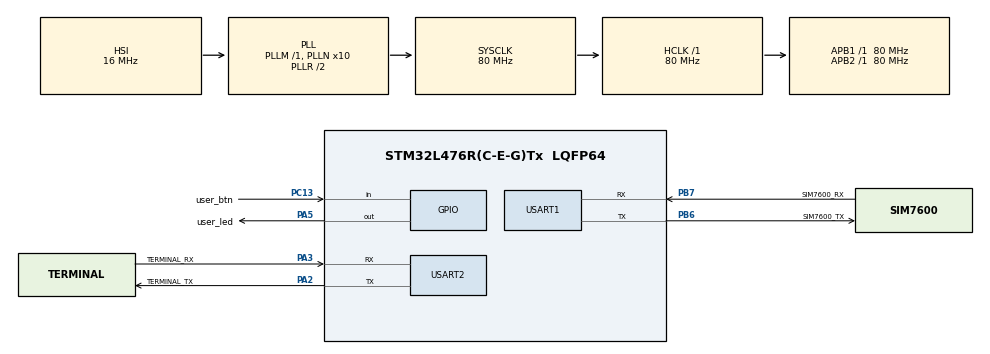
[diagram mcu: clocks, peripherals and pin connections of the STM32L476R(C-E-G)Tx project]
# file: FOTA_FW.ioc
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Mcu.Family=STM32L4
RCC.MSI_VALUE=4000000
RCC.PLLSourceVirtual=RCC_PLLSOURCE_HSI
PA14\ (JTCK-SWCLK).Mode=Serial_Wire
RCC.CortexFreq_Value=80000000
PC13.Signal=GPIO_Input
PB6.GPIO_Label=SIM7600_TX
PC13.GPIO_Label=user_btn
NVIC.USART2_IRQn=true\:0\:0\:false\:false\:true\:true\:true
RCC.SYSCLKSource=RCC_SYSCLKSOURCE_PLLCLK
ProjectManager.StackSize=0x400
PA14\ (JTCK-SWCLK).Signal=SYS_JTCK-SWCLK
USART1.VirtualMode-Asynchronous=VM_ASYNC
PA3.Mode=Asynchronous
ProjectManager.TargetToolchain=STM32CubeIDE
RCC.HCLKFreq_Value=80000000
RCC.APB2TimFreq_Value=80000000
PB6.Signal=USART1_TX
PB6.Mode=Asynchronous
RCC.USBFreq_Value=64000000
RCC.LSE_VALUE=32768
RCC.AHBFreq_Value=80000000
PA5.Signal=GPIO_Output
RCC.HSE_VALUE=8000000
board=NUCLEO-L476RG
USART2.VirtualMode-Asynchronous=VM_ASYNC
RCC.VCOOutputFreq_Value=160000000
RCC.APB2Freq_Value=80000000
RCC.ADCFreq_Value=64000000
PC13.GPIO_PuPd=GPIO_PULLUP
PB7.Signal=USART1_RX
Mcu.Name=STM32L476R(C-E-G)Tx
PA2.Signal=USART2_TX
PB7.GPIO_Label=SIM7600_RX
PA13\ (JTMS-SWDIO).Mode=Serial_Wire
RCC.SYSCLKFreq_VALUE=80000000
Mcu.Package=LQFP64
PA5.GPIO_Label=user_led
PA2.GPIO_Label=TERMINAL_TX
PB7.Mode=Asynchronous
ProjectManager.HeapSize=0x200
RCC.HSI_VALUE=16000000
PA5.GPIO_Speed=GPIO_SPEED_FREQ_VERY_HIGH
NVIC.PriorityGroup=NVIC_PRIORITYGROUP_4
RCC.PLLN=10
RCC.APB1TimFreq_Value=80000000
PA2.Mode=Asynchronous
PA13\ (JTMS-SWDIO).Signal=SYS_JTMS-SWDIO
NVIC.USART1_IRQn=true\:0\:0\:false\:false\:true\:true\:true
RCC.APB1Freq_Value=80000000
PA3.GPIO_Label=TERMINAL_RX
PA3.Signal=USART2_RX

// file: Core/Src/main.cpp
/* USER CODE BEGIN Header */
/**
  ******************************************************************************
  * @file           : main.c
  * @brief          : Main program body
  ******************************************************************************
  * @attention
  *
  * <h2><center>&copy; Copyright (c) 2021 STMicroelectronics.
  * All rights reserved.</center></h2>
  *
  * This software component is licensed by ST under BSD 3-Clause license,
  * the "License"; You may not use this file except in compliance with the
  * License. You may obtain a copy of the License at:
  *                        opensource.org/licenses/BSD-3-Clause
  *
  ******************************************************************************
  */
/* USER CODE END Header */
#include "main.h"

/* USER CODE BEGIN Includes */
#include "hw.h"
#include "string"
#include "cstring"
#include "define.h"

using namespace std;
/* USER CODE END Includes */

/* USER CODE BEGIN PV */

Sim7600 Sim7600( &huart1 ) ;
Terminal Terminal( &huart2 ) ;

uint32_t appFW_BaseAddress = 0x0803E800;

static char newAppFW_name[24] = {0} ;

struct BF_dWordHArrTypeDef {
	bool isLastDWord = false ;
	uint8_t data[8] = {0} ;
};

uint8_t parseToHex( char c0, char c1 ) ;

BF_dWordHArrTypeDef CS_getDoubleWord( uint32_t _address ) ;

bool CF_writeBFFWtoFlash( uint32_t _baseAddress ) ;

char *getCurrentVersion() ;

char *getOnSimVersion() ;

bool checkFWnameFormat( char _character ) ;

/* USER CODE END PV */

void SystemClock_Config(void);
/* USER CODE BEGIN PFP */
void HAL_UART_RxCpltCallback(UART_HandleTypeDef *huart) ;

/* USER CODE END PFP */

int main(void)
{
  /* USER CODE BEGIN 1 */
	SCB->VTOR = (uint32_t)0x08019000;
  /* USER CODE END 1 */

  /* MCU Configuration--------------------------------------------------------*/

  /* Reset of all peripherals, Initializes the Flash interface and the Systick. */
  HAL_Init();

  /* Configure the system clock */
  SystemClock_Config();

  /* Initialize all configured peripherals */
  MX_GPIO_Init();
  MX_USART2_UART_Init();
  MX_USART1_UART_Init();
  /* USER CODE BEGIN 2 */
  Sim7600.init() ;
  Terminal.init() ;

  Terminal.println( "----------------------------------------------------------------------------------------------------------------" ) ;
  Terminal.println( "                                             FIRMWARE OVER THE AIR UPDATE" ) ;
  Terminal.println( "----------------------------------------------------------------------------------------------------------------" ) ;
  Terminal.println( "Booting on...\nPlease wait for 30 second !" ) ;

  if( Sim7600.sendCmd( "AT", "OK", 1000 ) != true ) {
	  Sim7600.sendCmd( "AT+CRESET", "", 200 ) ;
	  HAL_Delay(30000) ;
  }

//	Flash_erase(500) ;
//	HAL_Delay(1000) ;
//	uint8_t x[24] = "datalogger_1.0.0.bin" ;
//	Flash_write( 0x080FA000, x, strlen((char*)x) ) ;

  Sim7600.sendCmd( "AT", "OK", 200 ) ;
  Sim7600.sendCmd( "AT+FSCD=E:", "OK", 200 ) ;
  Sim7600.sendCmd( "AT+CATR=1", "OK", 200 ) ;
  Sim7600.memreset() ;

  /* USER CODE END 2 */

  /* Infinite loop */
  /* USER CODE BEGIN WHILE */
	// Code start here :

  char curVersionOnFLASH[24] = {0} ;
  memcpy( curVersionOnFLASH, getCurrentVersion(), 24 ) ;

  char onSimVersion[25] = {0} ;
  memcpy( onSimVersion, getOnSimVersion(), 24 ) ;

  Terminal.println( "Checking..." ) ;
  if( strstr( onSimVersion, curVersionOnFLASH ) == NULL ) {
	  // Start write firmware tai day
	  Terminal.println( "*New program version detected!\nPage ereasing... " ) ;
	  for( int i = 0; i <= 150; i++ )
		  Flash_erase( i + 125 ) ;

	  Terminal.print( "Done.\nNow flashing... " ) ;
	  if( CF_writeBFFWtoFlash( appFW_BaseAddress ) == true )
		  Terminal.println( "...Flash successful!" ) ;
	  else
		  Terminal.println( "...Flash failed! Please try again!" ) ;

	  for( int i = 0 ; i < 6 ; i++ ) {
		  HAL_GPIO_TogglePin( user_led_GPIO_Port, user_led_Pin ) ;
		  HAL_Delay(500) ;
	  }

	  HAL_GPIO_WritePin( user_led_GPIO_Port,  user_led_Pin, (GPIO_PinState)0 ) ;

	  // lưu lại firmware hiện tại
	  Terminal.println( "Saving... " ) ;
	  char savedVersion[25] = {0} ;
	  HAL_Delay(1000) ;
	  memcpy( savedVersion, getOnSimVersion(), 24 ) ;
	  Flash_erase(500) ;
	  HAL_Delay(1000) ;
	  Flash_write( 0x080FA000, (const uint8_t*)savedVersion, strlen( savedVersion ) ) ;
	  Terminal.print( "Done" ) ;

	  Sim7600.sendCmd( "AT+CRESET", "", 100 ) ;
	  HAL_NVIC_SystemReset() ;

  }else {
	  Terminal.println( "Firmware version is up to date." ) ;
	  HAL_NVIC_SystemReset() ;
  }

  while (1)
  {
    /* USER CODE END WHILE */

  }
}

void SystemClock_Config(void)
{
  RCC_OscInitTypeDef RCC_OscInitStruct = {0};
  RCC_ClkInitTypeDef RCC_ClkInitStruct = {0};
  RCC_PeriphCLKInitTypeDef PeriphClkInit = {0};

  /** Initializes the RCC Oscillators according to the specified parameters
  * in the RCC_OscInitTypeDef structure.
  */
  RCC_OscInitStruct.OscillatorType = RCC_OSCILLATORTYPE_HSI;
  RCC_OscInitStruct.HSIState = RCC_HSI_ON;
  RCC_OscInitStruct.HSICalibrationValue = RCC_HSICALIBRATION_DEFAULT;
  RCC_OscInitStruct.PLL.PLLState = RCC_PLL_ON;
  RCC_OscInitStruct.PLL.PLLSource = RCC_PLLSOURCE_HSI;
  RCC_OscInitStruct.PLL.PLLM = 1;
  RCC_OscInitStruct.PLL.PLLN = 10;
  RCC_OscInitStruct.PLL.PLLP = RCC_PLLP_DIV7;
  RCC_OscInitStruct.PLL.PLLQ = RCC_PLLQ_DIV2;
  RCC_OscInitStruct.PLL.PLLR = RCC_PLLR_DIV2;
  if (HAL_RCC_OscConfig(&RCC_OscInitStruct) != HAL_OK)
  {
    Error_Handler();
  }
  /** Initializes the CPU, AHB and APB buses clocks
  */
  RCC_ClkInitStruct.ClockType = RCC_CLOCKTYPE_HCLK|RCC_CLOCKTYPE_SYSCLK
                              |RCC_CLOCKTYPE_PCLK1|RCC_CLOCKTYPE_PCLK2;
  RCC_ClkInitStruct.SYSCLKSource = RCC_SYSCLKSOURCE_PLLCLK;
  RCC_ClkInitStruct.AHBCLKDivider = RCC_SYSCLK_DIV1;
  RCC_ClkInitStruct.APB1CLKDivider = RCC_HCLK_DIV1;
  RCC_ClkInitStruct.APB2CLKDivider = RCC_HCLK_DIV1;

  if (HAL_RCC_ClockConfig(&RCC_ClkInitStruct, FLASH_LATENCY_4) != HAL_OK)
  {
    Error_Handler();
  }
  PeriphClkInit.PeriphClockSelection = RCC_PERIPHCLK_USART1|RCC_PERIPHCLK_USART2;
  PeriphClkInit.Usart1ClockSelection = RCC_USART1CLKSOURCE_PCLK2;
  PeriphClkInit.Usart2ClockSelection = RCC_USART2CLKSOURCE_PCLK1;
  if (HAL_RCCEx_PeriphCLKConfig(&PeriphClkInit) != HAL_OK)
  {
    Error_Handler();
  }
  /** Configure the main internal regulator output voltage
  */
  if (HAL_PWREx_ControlVoltageScaling(PWR_REGULATOR_VOLTAGE_SCALE1) != HAL_OK)
  {
    Error_Handler();
  }
}

/* USER CODE BEGIN 4 */

/*____________________________________________________________________________________________________________________________________________*/
void HAL_UART_RxCpltCallback(UART_HandleTypeDef *huart) {
	if( huart->Instance == USART1 )
		Sim7600.irqProcess() ;
	else if( huart->Instance == USART2 )
		Terminal.irqProcess() ;
}

/*____________________________________________________________________________________________________________________________________________*/
/*
 * parse from 2 character type 'A' and 'B' to 0xAB
 */
uint8_t parseToHex( char c0, char c1 ){
	uint8_t result = 0x00 ;
    if ('0' <= c0 && c0 <= '9') result = c0 - '0';
    if ('a' <= c0 && c0 <= 'f') result = 10 + c0 - 'a';
    if ('A' <= c0 && c0 <= 'F') result = 10 + c0 - 'A';

    result <<= 4 ;

    if ('0' <= c1 && c1 <= '9') result |= c1 - '0';
    if ('a' <= c1 && c1 <= 'f') result |= 10 + c1 - 'a';
    if ('A' <= c1 && c1 <= 'F') result |= 10 + c1 - 'A';

    return result ;

}

/*____________________________________________________________________________________________________________________________________________*/
BF_dWordHArrTypeDef CS_getDoubleWord( uint32_t _address ) {
	static BF_dWordHArrTypeDef result ;

	result.isLastDWord = false ;
	memset( result.data, 0x00, 8 ) ;

	// Tạo câu lệnh CMD để lấy dữ liệu recode thứ location
	char cmd[ strlen( newAppFW_name ) + 30 ] = {0} ;
	sprintf( cmd, "AT+CFTRANTX=\"E:/%s\",%lu,8\r\n", newAppFW_name, _address ) ;
	// không thể dùng strstr "OK"để kiểm tra Sim7600.sendCmd đúng hay không được, vì gặp ký tự NULL ( 0x00 ) là nó dừng
	// nhưng dữ liệu firmware của chúng ta chứa ký tự null là chuyện đương nhiên -> ko hợp lý . Nên chỉ gửi thôi, ko kiểm tra.
	Sim7600.sendCmd( cmd, "+CFTRANTX: DATA", 5000 ) ;

	char dataZone[36] = {0} ;
	memcpy( dataZone, strstr( Sim7600.rxData.c_str(), "DATA" ), 35 ) ;

	// Check if is last double word of .bin file
	uint8_t restNbData = parseToHex( dataZone[6], dataZone[7] ) ;
	if( strstr( dataZone, "DATA" ) == NULL )
		result.isLastDWord = true ;

	else if( restNbData < 0x08  ) {
		result.isLastDWord = true ;
		for( int i = 0 ; i < restNbData ; i++ )
			result.data[i] = dataZone[ i + 9 ] ;

	// nếu không thì cứ trả về bình thường
	}else {
		for( int i = 0 ; i < 8 ; i++ )
			result.data[i] = dataZone[ i + 9 ] ;
	}

	return (BF_dWordHArrTypeDef)result ;
}

/*____________________________________________________________________________________________________________________________________________*/
bool CF_writeBFFWtoFlash( uint32_t _baseAddress ) {
	// Before start
	Sim7600.sendCmd( "AT", "OK", 200 ) ;
	Sim7600.sendCmd( "AT+FSCD=E:", "OK", 200 ) ;
	Sim7600.sendCmd( "AT+CATR=1", "OK", 200 ) ;
	Sim7600.memreset() ;

	memset( newAppFW_name, 0, 25 ) ;
	memcpy( newAppFW_name, getOnSimVersion(), 24 ) ;

	bool result = false ;
	uint32_t address = 0x00 ;
	BF_dWordHArrTypeDef wDWord = { 0, 0 } ;
	while(1) {
		// Lấy double word
		wDWord = CS_getDoubleWord( address ) ;
		HAL_GPIO_TogglePin( user_led_GPIO_Port, user_led_Pin ) ;

		// Kiểm tra có phải đã đến data cuối cùng chưa ?
		if( ( wDWord.isLastDWord == true ) && ( address > 0x800 ) ) {
			Flash_write_doubleWord( address + _baseAddress, (const uint8_t*)wDWord.data ) ;
			result = true ;
			break ;

		// Trường hợp này là bị lỗi chớ k phải đã hoàn thành
		}else if( ( wDWord.isLastDWord == true ) && ( address < 0x800 )  ){
			break ;

		// còn nếu chưa thì cứ tiếp tục
		}else {
			Flash_write_doubleWord( address + _baseAddress, (const uint8_t*)wDWord.data ) ;
			address += 0x08 ;
		}

		HAL_GPIO_TogglePin( user_led_GPIO_Port, user_led_Pin ) ;
		// Debug
		if( address == 0x0C60 )
			Terminal.println( "...10%..." ) ;
		else if( address == 0x18E0 )
			Terminal.println( "...20%..." ) ;
		else if( address == 0x2560 )
			Terminal.println( "...30%..." ) ;
		else if( address == 0x31E0 )
			Terminal.println( "...40%..." ) ;
		else if( address == 0x3E60 )
			Terminal.println( "...50%..." ) ;
		else if( address == 0x4AE0 )
			Terminal.println( "...60%..." ) ;
		else if( address == 0x5760 )
			Terminal.println( "...70%..." ) ;
		else if( address == 0x63E0 )
			Terminal.println( "...80%..." ) ;
		else if( address == 0x76A0 )
			Terminal.println( "...90%..." ) ;

		HAL_GPIO_TogglePin( user_led_GPIO_Port, user_led_Pin ) ;

	}

	if( result == true )
		Terminal.println( "...100%... Done." ) ;

	return result ;
}

/*__________________________________________________________________________________________________________________________________________*/
char *getCurrentVersion() {
	// version: 1.0.0FF
	static char version[24] ;
	memset( version, 0 , 24 ) ;

	char firstDW[8] = {0} ;
	char secondDW[8] = {0} ;
	char thirdDW[8] = {0} ;
	memcpy( firstDW, Flash_read_doubleWord(0x080FA000), 8 ) ;
	memcpy( secondDW, Flash_read_doubleWord(0x080FA008), 8 ) ;
	memcpy( thirdDW, Flash_read_doubleWord(0x080FA010), 8 ) ;

	for( int i = 0 ; i < 8 ; i++ )
		version[i] = firstDW[i] ;
	for( int i = 0 ; i < 8 ; i++ ) {
		if( checkFWnameFormat( (char)secondDW[i] ) == 1 )
			version[ i + 8 ] = secondDW[i] ;
		else
			version[ i + 8 ] = 0x00 ;
	}
	for( int i = 0 ; i < 8 ; i++ ) {
		if( checkFWnameFormat( thirdDW[i] ) == 1 )
			version[ i + 16 ] = thirdDW[i] ;
		else
			version[ i + 16 ] = 0x00 ;
	}

	return version ;
}

/*__________________________________________________________________________________________________________________________________________*/
char *getOnSimVersion() {
	// version: 1.0.0FF
	static char version[25] ;
	memset( version, 0 , 25 ) ;

	Sim7600.sendCmd( "AT\r", "OK", 2000 ) ;
	Sim7600.sendCmd( "AT+FSCD=E:\r", "OK", 2000 ) ;
	Sim7600.sendCmd( "AT+FSLS\r", "OK", 2000 ) ;

	memcpy( version, strstr( Sim7600.rxData.c_str(), "datalogger" ), 24 ) ;

	// filter version name
	for( int i = 0 ; i < 24 ; i++ )
		if( checkFWnameFormat( version[i] ) == false )
			version[i] = 0x00 ;

	return version ;
}

/*__________________________________________________________________________________________________________________________________________*/
// datalogger_1.1.1.bin => d,a,t,l,o,g,e,r,b,i,n,_,.,'number'
bool checkFWnameFormat( char _character ) {
	switch ( _character ) {
		case 'd':
			return 1 ;
		case 'a':
			return 1 ;
		case 't':
			return 1 ;
		case 'l':
			return 1 ;
		case 'o':
			return 1 ;
		case 'g':
			return 1 ;
		case (char)'e':
			return 1 ;
		case 'r':
			return 1 ;
		case 'b':
			return 1 ;
		case 'i':
			return 1 ;
		case 'n':
			return 1 ;
		case '_':
			return 1 ;
		case '.':
			return 1 ;

		default:
			if( ( _character >= 0x30 && _character <= 0x39 ) )
				return 1 ;
			else
				return 0 ;
			break;
	}
}

/* USER CODE END 4 */

void Error_Handler(void)
{
  __disable_irq();
  while (1)
  {
  }
}

/************************ (C) COPYRIGHT STMicroelectronics *****END OF FILE****/
